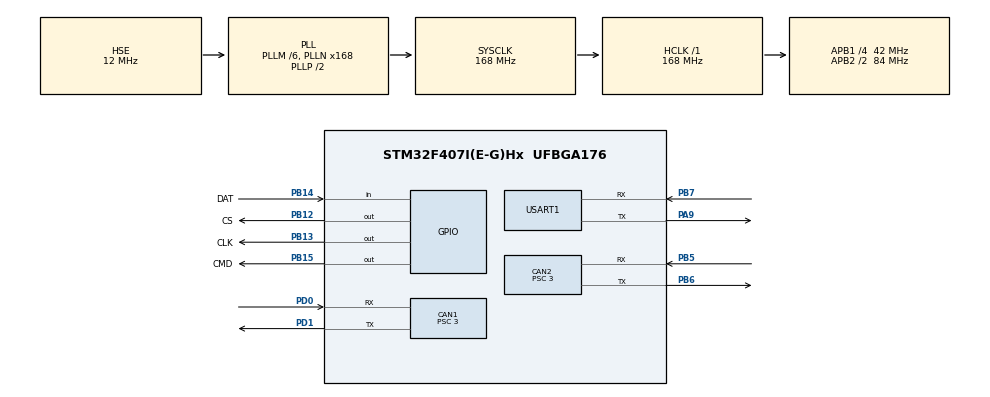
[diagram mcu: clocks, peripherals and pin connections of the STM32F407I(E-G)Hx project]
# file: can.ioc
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CAN1.BS1=CAN_BS1_10TQ
CAN1.BS2=CAN_BS2_3TQ
CAN1.CalculateBaudRate=1000000
CAN1.CalculateTimeQuantum=71.42857142857143
CAN1.Prescaler=3
CAN2.BS1=CAN_BS1_10TQ
CAN2.BS2=CAN_BS2_3TQ
CAN2.CalculateBaudRate=1000000
CAN2.CalculateTimeQuantum=71.42857142857143
CAN2.Prescaler=3
Dma.Request0=USART1_RX
Dma.Request1=USART1_TX
Dma.USART1_RX.0.Direction=DMA_PERIPH_TO_MEMORY
Dma.USART1_RX.0.FIFOMode=DMA_FIFOMODE_DISABLE
Dma.USART1_RX.0.Instance=DMA2_Stream2
Dma.USART1_RX.0.MemDataAlignment=DMA_MDATAALIGN_BYTE
Dma.USART1_RX.0.MemInc=DMA_MINC_ENABLE
Dma.USART1_RX.0.Mode=DMA_NORMAL
Dma.USART1_RX.0.PeriphDataAlignment=DMA_PDATAALIGN_BYTE
Dma.USART1_RX.0.PeriphInc=DMA_PINC_DISABLE
Dma.USART1_RX.0.Priority=DMA_PRIORITY_HIGH
Dma.USART1_TX.1.Direction=DMA_MEMORY_TO_PERIPH
Dma.USART1_TX.1.FIFOMode=DMA_FIFOMODE_DISABLE
Dma.USART1_TX.1.Instance=DMA2_Stream7
Dma.USART1_TX.1.MemDataAlignment=DMA_MDATAALIGN_BYTE
Dma.USART1_TX.1.MemInc=DMA_MINC_ENABLE
Dma.USART1_TX.1.Mode=DMA_NORMAL
Dma.USART1_TX.1.PeriphDataAlignment=DMA_PDATAALIGN_BYTE
Dma.USART1_TX.1.PeriphInc=DMA_PINC_DISABLE
Dma.USART1_TX.1.Priority=DMA_PRIORITY_HIGH
Mcu.Family=STM32F4
Mcu.Name=STM32F407I(E-G)Hx
Mcu.Package=UFBGA176
NVIC.CAN1_RX0_IRQn=true\:0\:0\:false\:false\:true\:true\:true\:true
NVIC.CAN2_RX0_IRQn=true\:0\:0\:false\:false\:true\:true\:true\:true
NVIC.DMA2_Stream2_IRQn=true\:0\:0\:false\:false\:true\:false\:true\:true
NVIC.DMA2_Stream7_IRQn=true\:0\:0\:false\:false\:true\:false\:true\:true
NVIC.PriorityGroup=NVIC_PRIORITYGROUP_4
NVIC.TIM2_IRQn=true\:0\:0\:false\:false\:true\:true\:true\:true
NVIC.USART1_IRQn=true\:0\:0\:true\:false\:true\:true\:true\:true
PA13.Mode=Serial_Wire
PA13.Signal=SYS_JTMS-SWDIO
PA14.Mode=Serial_Wire
PA14.Signal=SYS_JTCK-SWCLK
PA9.Mode=Asynchronous
PA9.Signal=USART1_TX
PB12.GPIO_Label=CS
PB12.Signal=GPIO_Output
PB13.GPIO_Label=CLK
PB13.Signal=GPIO_Output
PB14.GPIO_Label=DAT
PB14.GPIO_PuPd=GPIO_PULLDOWN
PB14.Signal=GPIO_Input
PB15.GPIO_Label=CMD
PB15.Signal=GPIO_Output
PB5.Mode=CAN_Activate
PB5.Signal=CAN2_RX
PB6.Mode=CAN_Activate
PB6.Signal=CAN2_TX
PB7.Mode=Asynchronous
PB7.Signal=USART1_RX
PD0.Mode=CAN_Activate
PD0.Signal=CAN1_RX
PD1.Mode=CAN_Activate
PD1.Signal=CAN1_TX
PH0-OSC_IN.Mode=HSE-External-Oscillator
PH0-OSC_IN.Signal=RCC_OSC_IN
PH1-OSC_OUT.Mode=HSE-External-Oscillator
PH1-OSC_OUT.Signal=RCC_OSC_OUT
ProjectManager.HeapSize=0x200
ProjectManager.StackSize=0x400
ProjectManager.TargetToolchain=CMake
RCC.48MHZClocksFreq_Value=84000000
RCC.AHBFreq_Value=168000000
RCC.APB1CLKDivider=RCC_HCLK_DIV4
RCC.APB1Freq_Value=42000000
RCC.APB1TimFreq_Value=84000000
RCC.APB2CLKDivider=RCC_HCLK_DIV2
RCC.APB2Freq_Value=84000000
RCC.APB2TimFreq_Value=168000000
RCC.CortexFreq_Value=168000000
RCC.HCLKFreq_Value=168000000
RCC.HSE_VALUE=12000000
RCC.HSI_VALUE=16000000
RCC.LSE_VALUE=32768
RCC.PLLM=6
RCC.PLLN=168
RCC.PLLSourceVirtual=RCC_PLLSOURCE_HSE
RCC.SYSCLKFreq_VALUE=168000000
RCC.SYSCLKSource=RCC_SYSCLKSOURCE_PLLCLK
RCC.VCOOutputFreq_Value=336000000
TIM2.AutoReloadPreload=TIM_AUTORELOAD_PRELOAD_ENABLE
TIM2.Period=999
TIM2.Prescaler=16799
USART1.VirtualMode=VM_ASYNC
VP_TIM2_VS_ClockSourceINT.Mode=Internal
board=custom

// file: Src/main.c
/* USER CODE BEGIN Header */
/**
******************************************************************************
* @file           : main.c
* @brief          : Main program body
******************************************************************************
* @attention
*
* <h2><center>&copy; Copyright (c) 2019 STMicroelectronics.
* All rights reserved.</center></h2>
*
* This software component is licensed by ST under BSD 3-Clause license,
* the "License"; You may not use this file except in compliance with the
* License. You may obtain a copy of the License at:
*                        opensource.org/licenses/BSD-3-Clause
*
******************************************************************************
*/
/* USER CODE END Header */
#include "main.h"
#include "can.h"
#include "dma.h"
#include "tim.h"
#include "usart.h"
#include "gpio.h"

/* USER CODE BEGIN Includes */
#include "bsp_can.h"
#include "CAN_receive.h"
#include "ps2.h"
#include "pid.h"
#include "usart.h"
#include "mecanum_control.h"
#include <math.h>
#include <string.h>
#include <stdio.h>

/* USER CODE END Includes */

/* USER CODE BEGIN PD */
#define WHEEL_FR 0  // 右前�?
#define WHEEL_FL 1  // 左前�?
#define WHEEL_BL 2  // 左后�?
#define WHEEL_BR 3  // 右后�?
/* USER CODE END PD */

/* USER CODE BEGIN PV */
PID_TypeDef motor_pid[4];
char tx_buffer[1000];
extern TIM_HandleTypeDef htim2;
extern UART_HandleTypeDef huart1;  // 确保你已经在别处定义了这个句�?
extern volatile uint8_t uart_tx_done;
extern void UART1_Send_DMA(uint8_t *buf, uint16_t len);

// 麦克纳姆轮控制结构体
mecanum_control_t mecanum;

/* USER CODE END PV */

void SystemClock_Config(void);
/* USER CODE BEGIN PFP */
void UART1_Send_DMA(uint8_t *buf, uint16_t len);
void UART1_Send_IT(uint8_t *buf, uint16_t len);
/* USER CODE END PFP */

int main(void)
{

  /* MCU Configuration--------------------------------------------------------*/

  /* Reset of all peripherals, Initializes the Flash interface and the Systick. */
  HAL_Init();

  /* USER CODE BEGIN Init */

//float wheel_speed_FR;
//float wheel_speed_FL;
//float wheel_speed_BL;
//float wheel_speed_BR;
  /* USER CODE END Init */

  /* Configure the system clock */
  SystemClock_Config();

  /* Initialize all configured peripherals */
  MX_GPIO_Init();
  MX_DMA_Init();
  MX_CAN1_Init();
  MX_CAN2_Init();
  MX_USART1_UART_Init();
  MX_TIM2_Init();
  /* USER CODE BEGIN 2 */
HAL_TIM_Base_Start_IT(&htim2);
can_filter_init();

  // 修改 PID 初始化代码
  for (int i = 0; i < 4; i++) {
    pid_init(&motor_pid[i]);
    motor_pid[i].f_param_init(&motor_pid[i], PID_Speed, 4000, 500, 10, 10, 4000, 500, 3.7, 0.1, 0.05);
        // PID模式（位置或速度）、最大输出、积分限幅、死区（绝对值）、控制周期、最大误差、目标值、kp、ki、kd）
        //开始版本kp=2.5，ki=0.1
        //初步调试kp=3.7，ki=0.1，kd=0.05
    motor_pid[i].target = mecanum.wheel_speed[i];
  }

  // 初始化麦克纳姆轮控制
  mecanum_init(&mecanum);
  static uint8_t is_pa0_pressed = 0; // 按键状态标志

  /* USER CODE END 2 */

  /* Infinite loop */
  /* USER CODE BEGIN WHILE */
  while (1)
  {
    /*
    static uint32_t last_time = 0;
    static uint8_t demo_state = 0;
    uint32_t current_time = HAL_GetTick();
    */

    // 检测PA0状态
    uint8_t pin_state = HAL_GPIO_ReadPin(GPIOA, GPIO_PIN_0);
    HAL_Delay(10); // 确保读取稳定
    if (pin_state == GPIO_PIN_RESET) // PA0低电平
    {
        is_pa0_pressed = 1;// 设置按键按下标志
        mecanum_stop(&mecanum); // 停止小车运动
        CAN_cmd_chassis(0, 0, 0, 0); // 发送停止指令
        continue; // 跳过后续逻辑
    }
    if (is_pa0_pressed == 0) // 处理正常状态下的逻辑
    {
      mecanum_move_forward(&mecanum, 1000.0f); // 前进

      // 更新PID控制
      for (int i = 0; i < 4; i++)
      {
          motor_pid[i].target = mecanum.wheel_speed[i];
          const motor_measure_t *motor_data = get_chassis_motor_measure_point(i);
          if (motor_data) {
              motor_pid[i].f_cal_pid(&motor_pid[i], motor_data->speed_rpm);
          }
      }
      // 发送电机控制指令
      CAN_cmd_chassis(motor_pid[0].output, motor_pid[1].output, motor_pid[2].output, motor_pid[3].output);

      // VOFA绘图数据发送（只在VOFA模式下发送）
      // 发送8个通道：4个实际速度值 + 4个设定速度值
      float vofa_data[8];
      for (int i = 0; i < 4; i++) {
          vofa_data[i] = (float)get_chassis_motor_measure_point(i)->speed_rpm;     // 实际速度
          vofa_data[i + 4] = (float)motor_pid[i].target;                          // 设定速度
      }
      // 发送浮点数组
      HAL_UART_Transmit(&huart1, (uint8_t*)vofa_data, sizeof(vofa_data), 100);
    }
    // 发送帧尾
    unsigned char tail[4] = {0x00, 0x00, 0x80, 0x7f};
    HAL_UART_Transmit(&huart1, tail, 4, 100);
    HAL_Delay(10); // 延迟10毫秒
    }
    /* USER CODE END WHILE */

  }
}

void SystemClock_Config(void)
{
  RCC_OscInitTypeDef RCC_OscInitStruct = {0};
  RCC_ClkInitTypeDef RCC_ClkInitStruct = {0};

  /** Configure the main internal regulator output voltage
  */
  __HAL_RCC_PWR_CLK_ENABLE();
  __HAL_PWR_VOLTAGESCALING_CONFIG(PWR_REGULATOR_VOLTAGE_SCALE1);

  /** Initializes the RCC Oscillators according to the specified parameters
  * in the RCC_OscInitTypeDef structure.
  */
  RCC_OscInitStruct.OscillatorType = RCC_OSCILLATORTYPE_HSE;
  RCC_OscInitStruct.HSEState = RCC_HSE_ON;
  RCC_OscInitStruct.PLL.PLLState = RCC_PLL_ON;
  RCC_OscInitStruct.PLL.PLLSource = RCC_PLLSOURCE_HSE;
  RCC_OscInitStruct.PLL.PLLM = 6;
  RCC_OscInitStruct.PLL.PLLN = 168;
  RCC_OscInitStruct.PLL.PLLP = RCC_PLLP_DIV2;
  RCC_OscInitStruct.PLL.PLLQ = 4;
  if (HAL_RCC_OscConfig(&RCC_OscInitStruct) != HAL_OK)
  {
    Error_Handler();
  }

  /** Initializes the CPU, AHB and APB buses clocks
  */
  RCC_ClkInitStruct.ClockType = RCC_CLOCKTYPE_HCLK|RCC_CLOCKTYPE_SYSCLK
                              |RCC_CLOCKTYPE_PCLK1|RCC_CLOCKTYPE_PCLK2;
  RCC_ClkInitStruct.SYSCLKSource = RCC_SYSCLKSOURCE_PLLCLK;
  RCC_ClkInitStruct.AHBCLKDivider = RCC_SYSCLK_DIV1;
  RCC_ClkInitStruct.APB1CLKDivider = RCC_HCLK_DIV4;
  RCC_ClkInitStruct.APB2CLKDivider = RCC_HCLK_DIV2;

  if (HAL_RCC_ClockConfig(&RCC_ClkInitStruct, FLASH_LATENCY_5) != HAL_OK)
  {
    Error_Handler();
  }
}

/* USER CODE BEGIN 4 */

// 定时器中断回调，定时发�?�VOFA数据（float格式，VOFA可直接画图）
//void HAL_TIM_PeriodElapsedCallback(TIM_HandleTypeDef *htim)
//{
//    if (htim == &htim2)
//    {
//        float vofa_data[4];
//        for (int i = 0; i < 4; i++) {
//            vofa_data[i] = (float)get_chassis_motor_measure_point(i)->speed_rpm;
//        }
//        // 发�??4个float数据到VOFA+
//        HAL_UART_Transmit(&huart1, (uint8_t*)vofa_data, sizeof(vofa_data), 100);
//    }
//}
//void HAL_TIM_PeriodElapsedCallback(TIM_HandleTypeDef *htim)
//{

//if (htim == (&htim2))
//{
//			for(int i=0; i<4; i++)
//{
//  motor_pid[i].target = 1000;
//		const motor_measure_t *motor_data = get_chassis_motor_measure_point(i);
//			motor_pid[i].f_cal_pid(&motor_pid[i],motor_data->speed_rpm);    //根据设定值进行PID计算�?
//}
//CAN_cmd_chassis(motor_pid[0].output,motor_pid[1].output,motor_pid[2].output,motor_pid[3].output);
//}
//}

// ? DMA 发�?�完成回�?
//void USART1_IRQHandler(void)
//{
//    /* TXE 空中�? */
//    if (__HAL_UART_GET_FLAG(&huart1, UART_FLAG_TXE))
//    {
//        if (tx_buf_len > 0)
//        {
//            USART1->DR = *tx_buf_ptr++;   // 发�?�一个字�?
//            tx_buf_len--;
//        }
//        else
//        {
//            /* 发完了，关闭 TXE 中断，防止一直进中断 */
//            __HAL_UART_DISABLE_IT(&huart1, UART_IT_TXE);
//            tx_busy = 0;
//        }
//    }

//    /* 如有 RX 中断，可在此处理 */
//}

// 定时器中断回调，定时发�?�VOFA数据
/*void HAL_TIM_PeriodElapsedCallback(TIM_HandleTypeDef *htim)
{
    if (htim == &htim2)
    {
       char buf[100];
    for (int i = 0; i < 4; i++) {
        int len = snprintf(buf, sizeof(buf), "M%d:%d\r\n", i, get_chassis_motor_measure_point(i)->speed_rpm);
        HAL_UART_Transmit(&huart1, (uint8_t *)buf, len, 100);
   }
    HAL_Delay(500);

    }
}*/
/* USER CODE END 4 */

void Error_Handler(void)
{
}
